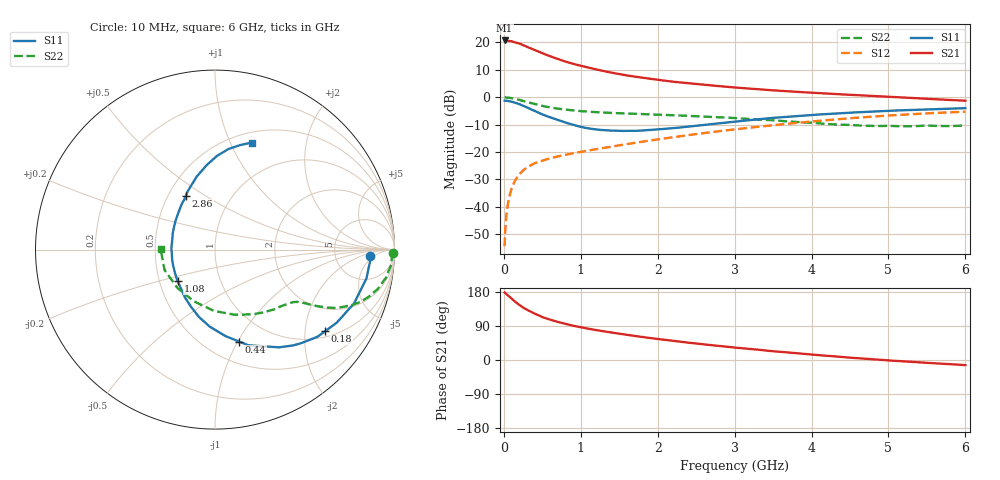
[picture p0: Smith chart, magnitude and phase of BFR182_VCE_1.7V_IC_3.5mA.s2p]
! Infineon Technologies  Discrete & RF Semiconductors
! BFR182
! VCE =  1.7 V,  IC =  3.5 mA
! Common Emitter S-Parameters:  Nov 2015
# GHz  S  MA  R  50
!  f  S11  S21  S12  S22
! GHz  MAG  ANG  MAG  ANG  MAG  ANG  MAG  ANG
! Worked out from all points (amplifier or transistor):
!   210 points, 10 MHz to 6 GHz, reference 50 ohm
!   highest |S21| = 20.7 dB at 10 MHz (marker M1)
!   |S21| within 3 dB of that: start of sweep to 357.3 MHz
!   unconditionally stable (mu >= 1): 1.2 GHz to 2.959 GHz
!   at 185 MHz: K = 0.26, MSG = 24.2 dB, |S12| = -28.8 dB
!   at 1.52 GHz: K = 1.06, MAG = 11.5 dB, |S12| = -17.5 dB
!   at 6 GHz: K = 0.90, MSG = 2.0 dB, |S12| = -5.3 dB
!   S11 on the Smith chart (normalised r, x): 10 MHz: 13, -3; 180 MHz: 1.17, -2.56; 440 MHz: 0.71, -1.01; 1.08 GHz: 0.62, -0.24; 2.86 GHz: 0.61, +0.41; 6 GHz: 0.61, +1.21
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0.01  0.8637 -2.3  10.88 178.3  0.0019 93.8  0.9928 -1.0
0.04  0.8601 -8.6  10.71 172.7  0.0085 85.7  0.9855 -3.9
0.1  0.8307 -21.2  10.55 162.2  0.0212 78.9  0.9643 -9.5
0.15  0.7911 -31.0  9.968 153.1  0.0307 73.7  0.932 -13.7
0.18  0.7637 -36.5  9.72 148.6  0.0355 71.0  0.909 -15.8
0.2  0.7496 -40.4  9.59 145.5  0.0388 69.6  0.8944 -17.2
0.26  0.689 -50.8  8.858 137.2  0.0472 64.8  0.8461 -20.7
0.3  0.6515 -56.7  8.318 132.4  0.0522 63.2  0.8168 -22.4
0.44  0.53 -75.2  6.891 119.0  0.065 57.9  0.7273 -26.5
0.5  0.4849 -83.2  6.34 113.2  0.0694 56.6  0.6918 -27.7
0.6  0.4299 -94.0  5.607 106.4  0.0767 55.5  0.6487 -29.0
0.7  0.3841 -103.8  4.994 100.5  0.0827 54.8  0.6179 -29.9
0.9  0.3142 -122.3  4.068 90.4  0.0946 54.8  0.574 -31.1
1.02  0.2834 -133.5  3.691 85.6  0.1013 55.5  0.5541 -31.8
1.08  0.2727 -139.5  3.525 83.3  0.1051 55.9  0.5458 -32.3
1.6  0.2433 178.2  2.496 66.3  0.1392 57.7  0.5043 -36.9
2.02  0.2598 152.0  2.064 55.0  0.1711 58.2  0.4789 -42.2
2.86  0.3399 118.6  1.566 35.9  0.245 55.2  0.4257 -57.0
3.1  0.3693 112.7  1.468 31.0  0.2678 53.5  0.4072 -62.5
4.1  0.4832 94.0  1.186 12.7  0.3702 44.3  0.3323 -94.7
5.1  0.5715 81.1  1.004 -2.3  0.4718 31.8  0.2962 -139.0
6  0.6305 71.0  0.863 -13.5  0.5434 18.4  0.3033 179.6
